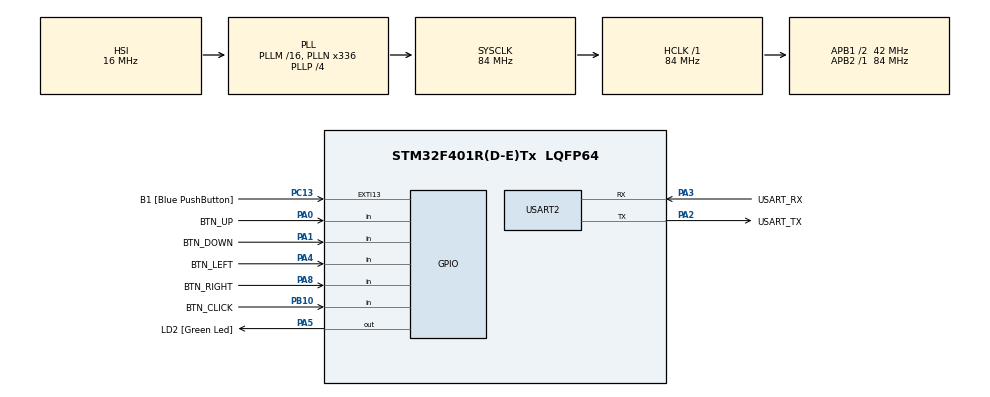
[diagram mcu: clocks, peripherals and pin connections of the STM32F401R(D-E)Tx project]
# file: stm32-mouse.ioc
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Mcu.Family=STM32F4
Mcu.Name=STM32F401R(D-E)Tx
Mcu.Package=LQFP64
NVIC.PriorityGroup=NVIC_PRIORITYGROUP_4
NVIC.TIM2_IRQn=true\:0\:0\:false\:false\:true\:true\:true\:true
NVIC.USART2_IRQn=true\:0\:0\:false\:false\:true\:true\:true\:true
PA0-WKUP.GPIO_Label=BTN_UP
PA0-WKUP.GPIO_PuPd=GPIO_PULLUP
PA0-WKUP.Signal=GPIO_Input
PA1.GPIO_Label=BTN_DOWN
PA1.GPIO_PuPd=GPIO_PULLUP
PA1.Signal=GPIO_Input
PA13.GPIO_Label=TMS
PA13.Mode=Trace_Asynchronous_SW
PA13.Signal=SYS_JTMS-SWDIO
PA14.GPIO_Label=TCK
PA14.Mode=Trace_Asynchronous_SW
PA14.Signal=SYS_JTCK-SWCLK
PA2.GPIO_Label=USART_TX
PA2.GPIO_Mode=GPIO_MODE_AF_PP
PA2.GPIO_PuPd=GPIO_NOPULL
PA2.GPIO_Speed=GPIO_SPEED_FREQ_LOW
PA2.Mode=Asynchronous
PA2.Signal=USART2_TX
PA3.GPIO_Label=USART_RX
PA3.GPIO_Mode=GPIO_MODE_AF_PP
PA3.GPIO_PuPd=GPIO_NOPULL
PA3.GPIO_Speed=GPIO_SPEED_FREQ_LOW
PA3.Mode=Asynchronous
PA3.Signal=USART2_RX
PA4.GPIO_Label=BTN_LEFT
PA4.GPIO_PuPd=GPIO_PULLUP
PA4.Signal=GPIO_Input
PA5.GPIO_Label=LD2 [Green Led]
PA5.GPIO_Mode=GPIO_MODE_OUTPUT_PP
PA5.GPIO_PuPd=GPIO_PULLUP
PA5.GPIO_Speed=GPIO_SPEED_FREQ_LOW
PA5.Signal=GPIO_Output
PA8.GPIO_Label=BTN_RIGHT
PA8.GPIO_PuPd=GPIO_PULLUP
PA8.Signal=GPIO_Input
PB10.GPIO_Label=BTN_CLICK
PB10.GPIO_PuPd=GPIO_PULLUP
PB10.Signal=GPIO_Input
PB3.GPIO_Label=SWO
PB3.Mode=Trace_Asynchronous_SW
PB3.Signal=SYS_JTDO-SWO
PC13-ANTI_TAMP.GPIO_Label=B1 [Blue PushButton]
PC13-ANTI_TAMP.GPIO_ModeDefaultEXTI=GPIO_MODE_IT_FALLING
PC13-ANTI_TAMP.GPIO_PuPd=GPIO_NOPULL
PC13-ANTI_TAMP.Signal=GPXTI13
PC14-OSC32_IN.Mode=LSE-External-Oscillator
PC14-OSC32_IN.Signal=RCC_OSC32_IN
PC15-OSC32_OUT.Mode=LSE-External-Oscillator
PC15-OSC32_OUT.Signal=RCC_OSC32_OUT
PH0\ -\ OSC_IN.Mode=HSE-External-Clock-Source
PH0\ -\ OSC_IN.Signal=RCC_OSC_IN
PH1\ -\ OSC_OUT.Mode=HSE-External-Clock-Source
PH1\ -\ OSC_OUT.Signal=RCC_OSC_OUT
ProjectManager.HeapSize=0x200
ProjectManager.StackSize=0x400
ProjectManager.TargetToolchain=STM32CubeIDE
RCC.48MHZClocksFreq_Value=48000000
RCC.AHBFreq_Value=84000000
RCC.APB1CLKDivider=RCC_HCLK_DIV2
RCC.APB1Freq_Value=42000000
RCC.APB1TimFreq_Value=84000000
RCC.APB2Freq_Value=84000000
RCC.APB2TimFreq_Value=84000000
RCC.CortexFreq_Value=84000000
RCC.HCLKFreq_Value=84000000
RCC.HSE_VALUE=8000000
RCC.HSI_VALUE=16000000
RCC.PLLN=336
RCC.PLLP=RCC_PLLP_DIV4
RCC.PLLQ=7
RCC.SYSCLKFreq_VALUE=84000000
RCC.SYSCLKSource=RCC_SYSCLKSOURCE_PLLCLK
RCC.VCOOutputFreq_Value=336000000
TIM2.Period=99
TIM2.Prescaler=8399
USART2.VirtualMode=VM_ASYNC
VP_TIM2_VS_ClockSourceINT.Mode=Internal
board=NUCLEO-F401RE

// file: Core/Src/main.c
/* USER CODE BEGIN Header */
/**
  ******************************************************************************
  * @file           : main.c
  * @brief          : Main program body
  ******************************************************************************
  * @attention
  *
  * Copyright (c) 2026 STMicroelectronics.
  * All rights reserved.
  *
  * This software is licensed under terms that can be found in the LICENSE file
  * in the root directory of this software component.
  * If no LICENSE file comes with this software, it is provided AS-IS.
  *
  ******************************************************************************
  */
/* USER CODE END Header */
#include "main.h"

/* USER CODE BEGIN Includes */
#include <stdio.h>
/* USER CODE END Includes */

/* USER CODE BEGIN PTD */
/* Tık butonları için durum bilgisi (debounce ve basma/bırakma anını yakalamak için) */
typedef struct {
  GPIO_TypeDef *port;   /* butonun portu (GPIOB, GPIOC...) */
  uint16_t      pin;    /* butonun pini */
  char          ad;     /* 'L' = sol tık, 'R' = sağ tık */
  uint8_t       durum;  /* kabul edilmiş son durum: 1 = bırakık, 0 = basılı */
  uint8_t       sayac;  /* yeni değer üst üste kaç kez okundu */
} Tik;

/* Halka tampon: kesme gelen karakterleri sona yazar, ana döngü baştan okur */
#define RB_BOYUT 64
typedef struct {
  uint8_t           veri[RB_BOYUT];
  volatile uint16_t yaz;   /* bir sonraki karakter nereye yazılacak (kesme ilerletir) */
  volatile uint16_t oku;   /* bir sonraki karakter nereden okunacak (ana döngü ilerletir) */
} HalkaTampon;

/* Menüden değiştirilebilen bir ayar */
typedef struct {
  const char *ad;      /* menüde görünen ad */
  int        *deger;   /* ayarın tutulduğu değişkenin adresi */
  int         min;     /* izin verilen en küçük değer */
  int         max;     /* izin verilen en büyük değer */
} Ayar;

/* Menünün iki durumu (durum makinesi) */
typedef enum { SECIM_BEKLE, DEGER_BEKLE } MenuDurum;
/* USER CODE END PTD */

/* USER CODE BEGIN PD */
#define SATIR_BOYUT 32   /* bilgisayardan gelen bir satırın en fazla uzunluğu */
/* USER CODE END PD */

TIM_HandleTypeDef htim2;

UART_HandleTypeDef huart2;

/* USER CODE BEGIN PV */
volatile uint32_t tick10ms = 0;   /* TIM2 kesmesi her 10 ms'de 1 artırır */

/* Hız ayarları: artık sabit değil, menüden değiştirilebilen değişkenler */
int hiz_baslangic = 2;    /* yön butonuna basınca ilk hız: her 10 ms'de kaç piksel */
int hiz_max       = 12;   /* en yüksek hız */
int hizlanma_tick = 10;   /* basılı tuttukça her kaç tick'te (10 ms) hız 1 artsın */

static Ayar ayarlar[] = {
  { "En yuksek hiz",   &hiz_max,       1, 30 },
  { "Baslangic hizi",  &hiz_baslangic, 1, 10 },
  { "Hizlanma (tick)", &hizlanma_tick, 1, 50 },
};
#define AYAR_SAYISI ((int)(sizeof(ayarlar) / sizeof(ayarlar[0])))

HalkaTampon rx_tampon;    /* UART'tan gelen karakterler */
uint8_t     rx_bayt;      /* HAL'ın kesmeyle aldığı tek karakter buraya gelir */

static MenuDurum menu_durum  = SECIM_BEKLE;
static int       secili_ayar = 0;
/* USER CODE END PV */

void SystemClock_Config(void);
static void MX_GPIO_Init(void);
static void MX_USART2_UART_Init(void);
static void MX_TIM2_Init(void);

/* USER CODE BEGIN 0 */
int __io_putchar(int sayi)
{
  HAL_UART_Transmit(&huart2, (uint8_t *)&sayi, 1, HAL_MAX_DELAY);
  return sayi;
}

/* Buton basılı mı? Pull-up olduğu için basılıyken pin 0 okunur. */
static int basili(GPIO_TypeDef *port, uint16_t pin)
{
  return HAL_GPIO_ReadPin(port, pin) == GPIO_PIN_RESET;
}

/* Tık butonunu her 10 ms'de bir kontrol eder.
 * Yeni değer 2 kez üst üste (20 ms) okunursa gerçek bir değişim sayılır (debounce).
 * Değişim olunca bilgisayara "B L 1" (sol tık basıldı) gibi bir satır gönderir. */
static void tik_guncelle(Tik *t)
{
  uint8_t okunan = HAL_GPIO_ReadPin(t->port, t->pin);

  if (okunan == t->durum)
  {
    t->sayac = 0;          /* değişiklik yok */
    return;
  }
  if (++t->sayac >= 2)
  {
    t->durum = okunan;
    t->sayac = 0;
    printf("B %c %d\r\n", t->ad, (t->durum == GPIO_PIN_RESET) ? 1 : 0);
  }
}

/* ---------------- Halka tampon ---------------- */

/* Boşsa 1: yazma ve okuma göstergeleri aynı yerdeyse okunacak bir şey yoktur */
static int rb_bos_mu(HalkaTampon *rb)
{
  return rb->yaz == rb->oku;
}

/* Bir karakter ekler. Tampon doluysa karakteri atar ve 0 döndürür.
 * Bir hücre bilerek boş bırakılır; yoksa "dolu" ile "boş" aynı görünürdü. */
static int rb_yaz(HalkaTampon *rb, uint8_t c)
{
  uint16_t sonraki = (rb->yaz + 1) % RB_BOYUT;   /* sona gelince başa dön */
  if (sonraki == rb->oku)
  {
    return 0;                                     /* dolu */
  }
  rb->veri[rb->yaz] = c;
  rb->yaz = sonraki;
  return 1;
}

/* Bir karakter alır. Tampon boşsa 0 döndürür. */
static int rb_oku(HalkaTampon *rb, uint8_t *c)
{
  if (rb_bos_mu(rb))
  {
    return 0;
  }
  *c = rb->veri[rb->oku];
  rb->oku = (rb->oku + 1) % RB_BOYUT;
  return 1;
}

/* ---------------- Ayar menüsü (durum makinesi) ---------------- */

static void menu_goster(void)
{
  printf("\r\n=== Ayarlar ===\r\n");
  for (int i = 0; i < AYAR_SAYISI; i++)
  {
    printf("%d) %-16s (simdi: %d)\r\n", i + 1, ayarlar[i].ad, *ayarlar[i].deger);
  }
  printf("Secim:\r\n");
}

/* Metni sayıya çevirir. Sadece rakamlardan oluşuyorsa 1 döndürür. */
static int sayiya_cevir(const char *s, int *sonuc)
{
  int n = 0;
  if (*s == '\0') return 0;            /* boş satır sayı değildir */
  for (; *s != '\0'; s++)
  {
    if (*s < '0' || *s > '9') return 0;
    n = n * 10 + (*s - '0');
    if (n > 10000) return 0;           /* saçma büyük sayıları reddet */
  }
  *sonuc = n;
  return 1;
}

/* Tamamlanan bir satırı menünün o anki durumuna göre işler */
static void satir_isle(const char *satir)
{
  int n;

  if (menu_durum == SECIM_BEKLE)
  {
    if (sayiya_cevir(satir, &n) && n >= 1 && n <= AYAR_SAYISI)
    {
      secili_ayar = n - 1;
      menu_durum = DEGER_BEKLE;
      printf("Yeni deger (%d-%d):\r\n", ayarlar[secili_ayar].min, ayarlar[secili_ayar].max);
    }
    else
    {
      printf("Gecersiz secim.\r\n");
      menu_goster();
    }
  }
  else   /* DEGER_BEKLE */
  {
    Ayar *a = &ayarlar[secili_ayar];
    if (sayiya_cevir(satir, &n) && n >= a->min && n <= a->max)
    {
      *a->deger = n;
      printf("OK: %s = %d\r\n", a->ad, n);
    }
    else
    {
      printf("Gecersiz deger.\r\n");
    }
    menu_durum = SECIM_BEKLE;
    menu_goster();
  }
}
/* USER CODE END 0 */

int main(void)
{

  /* MCU Configuration--------------------------------------------------------*/

  /* Reset of all peripherals, Initializes the Flash interface and the Systick. */
  HAL_Init();

  /* Configure the system clock */
  SystemClock_Config();

  /* Initialize all configured peripherals */
  MX_GPIO_Init();
  MX_USART2_UART_Init();
  MX_TIM2_Init();
  /* USER CODE BEGIN 2 */
  HAL_TIM_Base_Start_IT(&htim2);   /* TIM2: her 10 ms'de kesme */
  printf("\r\n=== STM32 mouse (UART) ===\r\n");

  Tik sol = { BTN_CLICK_GPIO_Port, BTN_CLICK_Pin, 'L', GPIO_PIN_SET, 0 };
  Tik sag = { B1_GPIO_Port,        B1_Pin,        'R', GPIO_PIN_SET, 0 };

  uint32_t son_tick = 0;      /* en son işlenen tick */
  uint32_t basili_sure = 0;   /* yön butonları kaç tick'tir basılı (hızlanma için) */

  char satir[SATIR_BOYUT];    /* bilgisayardan gelen karakterlerle oluşan satır */
  int  satir_uzunluk = 0;

  HAL_UART_Receive_IT(&huart2, &rx_bayt, 1);   /* ilk karakteri kesmeyle almaya başla */
  menu_goster();
  /* USER CODE END 2 */

  /* Infinite loop */
  while (1)
  {

    /* USER CODE BEGIN 3 */
    /* ---- 0) Bilgisayardan gelen karakterleri tampondan al, satır tamamlanınca işle ---- */
    uint8_t c;
    while (rb_oku(&rx_tampon, &c))
    {
      if (c == '\r' || c == '\n')
      {
        if (satir_uzunluk > 0)
        {
          satir[satir_uzunluk] = '\0';
          satir_isle(satir);
          satir_uzunluk = 0;
        }
      }
      else if (satir_uzunluk < SATIR_BOYUT - 1)
      {
        satir[satir_uzunluk++] = (char)c;
      }
    }

    /* Her 10 ms'de bir (yeni tick gelince) butonlara bak */
    if (tick10ms != son_tick)
    {
      son_tick = tick10ms;

      /* ---- 1) Yön butonları: basılı olduğu sürece imleci kaydır ---- */
      int sag_b   = basili(BTN_RIGHT_GPIO_Port, BTN_RIGHT_Pin);
      int sol_b   = basili(BTN_LEFT_GPIO_Port,  BTN_LEFT_Pin);
      int yukari  = basili(BTN_UP_GPIO_Port,    BTN_UP_Pin);
      int asagi   = basili(BTN_DOWN_GPIO_Port,  BTN_DOWN_Pin);

      if (sag_b || sol_b || yukari || asagi)
      {
        basili_sure++;
        int hiz = hiz_baslangic + (int)basili_sure / hizlanma_tick;   /* basılı tuttukça hızlan */
        if (hiz > hiz_max) hiz = hiz_max;

        int dx = (sag_b - sol_b) * hiz;      /* sağ = +x, sol = -x */
        int dy = (asagi - yukari) * hiz;     /* ekranda y aşağı doğru artar */
        if (dx != 0 || dy != 0)
        {
          printf("M %d %d\r\n", dx, dy);
        }
      }
      else
      {
        basili_sure = 0;                     /* bırakınca hız başa dönsün */
      }

      /* ---- 2) Tık butonları: basma ve bırakma anını gönder ---- */
      tik_guncelle(&sol);
      tik_guncelle(&sag);

      /* ---- 3) LED: herhangi bir tık basılıyken yansın ---- */
      int tik_basili = (sol.durum == GPIO_PIN_RESET) || (sag.durum == GPIO_PIN_RESET);
      HAL_GPIO_WritePin(LD2_GPIO_Port, LD2_Pin, tik_basili ? GPIO_PIN_SET : GPIO_PIN_RESET);
    }
  }
  /* USER CODE END 3 */
}

void SystemClock_Config(void)
{
  RCC_OscInitTypeDef RCC_OscInitStruct = {0};
  RCC_ClkInitTypeDef RCC_ClkInitStruct = {0};

  /** Configure the main internal regulator output voltage
  */
  __HAL_RCC_PWR_CLK_ENABLE();
  __HAL_PWR_VOLTAGESCALING_CONFIG(PWR_REGULATOR_VOLTAGE_SCALE2);

  /** Initializes the RCC Oscillators according to the specified parameters
  * in the RCC_OscInitTypeDef structure.
  */
  RCC_OscInitStruct.OscillatorType = RCC_OSCILLATORTYPE_HSI;
  RCC_OscInitStruct.HSIState = RCC_HSI_ON;
  RCC_OscInitStruct.HSICalibrationValue = RCC_HSICALIBRATION_DEFAULT;
  RCC_OscInitStruct.PLL.PLLState = RCC_PLL_ON;
  RCC_OscInitStruct.PLL.PLLSource = RCC_PLLSOURCE_HSI;
  RCC_OscInitStruct.PLL.PLLM = 16;
  RCC_OscInitStruct.PLL.PLLN = 336;
  RCC_OscInitStruct.PLL.PLLP = RCC_PLLP_DIV4;
  RCC_OscInitStruct.PLL.PLLQ = 7;
  if (HAL_RCC_OscConfig(&RCC_OscInitStruct) != HAL_OK)
  {
    Error_Handler();
  }

  /** Initializes the CPU, AHB and APB buses clocks
  */
  RCC_ClkInitStruct.ClockType = RCC_CLOCKTYPE_HCLK|RCC_CLOCKTYPE_SYSCLK
                              |RCC_CLOCKTYPE_PCLK1|RCC_CLOCKTYPE_PCLK2;
  RCC_ClkInitStruct.SYSCLKSource = RCC_SYSCLKSOURCE_PLLCLK;
  RCC_ClkInitStruct.AHBCLKDivider = RCC_SYSCLK_DIV1;
  RCC_ClkInitStruct.APB1CLKDivider = RCC_HCLK_DIV2;
  RCC_ClkInitStruct.APB2CLKDivider = RCC_HCLK_DIV1;

  if (HAL_RCC_ClockConfig(&RCC_ClkInitStruct, FLASH_LATENCY_2) != HAL_OK)
  {
    Error_Handler();
  }
}

static void MX_TIM2_Init(void)
{

  TIM_ClockConfigTypeDef sClockSourceConfig = {0};
  TIM_MasterConfigTypeDef sMasterConfig = {0};

  htim2.Instance = TIM2;
  htim2.Init.Prescaler = 8399;
  htim2.Init.CounterMode = TIM_COUNTERMODE_UP;
  htim2.Init.Period = 99;
  htim2.Init.ClockDivision = TIM_CLOCKDIVISION_DIV1;
  htim2.Init.AutoReloadPreload = TIM_AUTORELOAD_PRELOAD_DISABLE;
  if (HAL_TIM_Base_Init(&htim2) != HAL_OK)
  {
    Error_Handler();
  }
  sClockSourceConfig.ClockSource = TIM_CLOCKSOURCE_INTERNAL;
  if (HAL_TIM_ConfigClockSource(&htim2, &sClockSourceConfig) != HAL_OK)
  {
    Error_Handler();
  }
  sMasterConfig.MasterOutputTrigger = TIM_TRGO_RESET;
  sMasterConfig.MasterSlaveMode = TIM_MASTERSLAVEMODE_DISABLE;
  if (HAL_TIMEx_MasterConfigSynchronization(&htim2, &sMasterConfig) != HAL_OK)
  {
    Error_Handler();
  }

}

static void MX_USART2_UART_Init(void)
{

  huart2.Instance = USART2;
  huart2.Init.BaudRate = 115200;
  huart2.Init.WordLength = UART_WORDLENGTH_8B;
  huart2.Init.StopBits = UART_STOPBITS_1;
  huart2.Init.Parity = UART_PARITY_NONE;
  huart2.Init.Mode = UART_MODE_TX_RX;
  huart2.Init.HwFlowCtl = UART_HWCONTROL_NONE;
  huart2.Init.OverSampling = UART_OVERSAMPLING_16;
  if (HAL_UART_Init(&huart2) != HAL_OK)
  {
    Error_Handler();
  }

}

static void MX_GPIO_Init(void)
{
  GPIO_InitTypeDef GPIO_InitStruct = {0};

  /* GPIO Ports Clock Enable */
  __HAL_RCC_GPIOC_CLK_ENABLE();
  __HAL_RCC_GPIOH_CLK_ENABLE();
  __HAL_RCC_GPIOA_CLK_ENABLE();
  __HAL_RCC_GPIOB_CLK_ENABLE();

  /*Configure GPIO pin Output Level */
  HAL_GPIO_WritePin(LD2_GPIO_Port, LD2_Pin, GPIO_PIN_RESET);

  /*Configure GPIO pin : B1_Pin */
  GPIO_InitStruct.Pin = B1_Pin;
  GPIO_InitStruct.Mode = GPIO_MODE_IT_FALLING;
  GPIO_InitStruct.Pull = GPIO_NOPULL;
  HAL_GPIO_Init(B1_GPIO_Port, &GPIO_InitStruct);

  /*Configure GPIO pins : BTN_UP_Pin BTN_DOWN_Pin BTN_LEFT_Pin BTN_RIGHT_Pin */
  GPIO_InitStruct.Pin = BTN_UP_Pin|BTN_DOWN_Pin|BTN_LEFT_Pin|BTN_RIGHT_Pin;
  GPIO_InitStruct.Mode = GPIO_MODE_INPUT;
  GPIO_InitStruct.Pull = GPIO_PULLUP;
  HAL_GPIO_Init(GPIOA, &GPIO_InitStruct);

  /*Configure GPIO pin : LD2_Pin */
  GPIO_InitStruct.Pin = LD2_Pin;
  GPIO_InitStruct.Mode = GPIO_MODE_OUTPUT_PP;
  GPIO_InitStruct.Pull = GPIO_PULLUP;
  GPIO_InitStruct.Speed = GPIO_SPEED_FREQ_LOW;
  HAL_GPIO_Init(LD2_GPIO_Port, &GPIO_InitStruct);

  /*Configure GPIO pin : BTN_CLICK_Pin */
  GPIO_InitStruct.Pin = BTN_CLICK_Pin;
  GPIO_InitStruct.Mode = GPIO_MODE_INPUT;
  GPIO_InitStruct.Pull = GPIO_PULLUP;
  HAL_GPIO_Init(BTN_CLICK_GPIO_Port, &GPIO_InitStruct);

}

/* USER CODE BEGIN 4 */
void HAL_TIM_PeriodElapsedCallback(TIM_HandleTypeDef *htim)
{
  if (htim->Instance == TIM2)
  {
    tick10ms++;   /* 10 ms geçti */
  }
}

/* UART'tan bir karakter gelince HAL bu fonksiyonu çağırır (kesme içinde: kısa tut!) */
void HAL_UART_RxCpltCallback(UART_HandleTypeDef *huart)
{
  if (huart->Instance == USART2)
  {
    rb_yaz(&rx_tampon, rx_bayt);                 /* karakteri tampona koy */
    HAL_UART_Receive_IT(&huart2, &rx_bayt, 1);   /* bir sonraki karakteri beklemeye başla */
  }
}

/* Taşma gibi bir UART hatasından sonra almayı yeniden başlat, yoksa alma durur */
void HAL_UART_ErrorCallback(UART_HandleTypeDef *huart)
{
  if (huart->Instance == USART2)
  {
    HAL_UART_Receive_IT(&huart2, &rx_bayt, 1);
  }
}
/* USER CODE END 4 */

void Error_Handler(void)
{
  __disable_irq();
  while (1)
  {
  }
}
